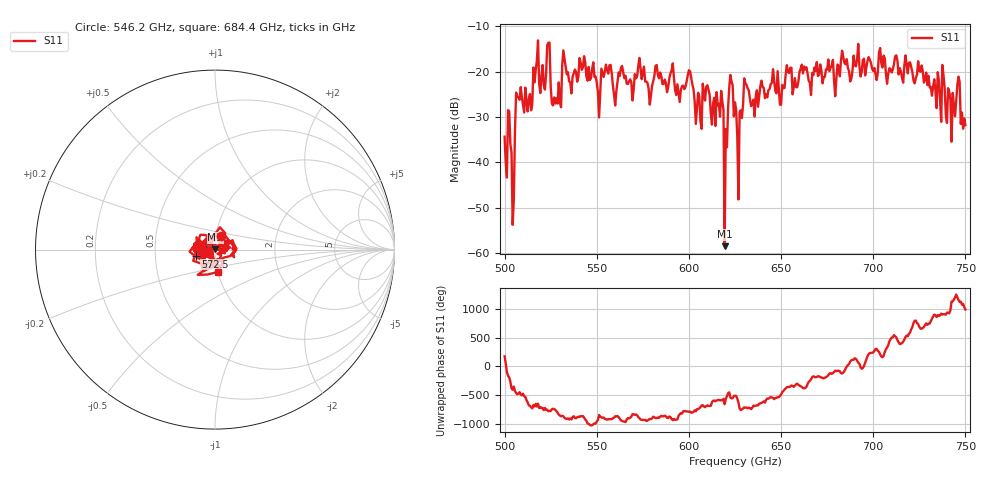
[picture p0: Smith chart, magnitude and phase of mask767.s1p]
!Created with skrf (http://scikit-rf.org).
# GHz S MA R 50.0
!freq magS11 angS11
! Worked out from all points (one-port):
!   401 points, 500 GHz to 750 GHz, reference 50 ohm
!   lowest |S11| = -58.5 dB at 619.4 GHz (marker M1), VSWR 1.00, Z = 50.1 + j0.107 ohm
!   |S11| at or under -10 dB: start of sweep to end of sweep
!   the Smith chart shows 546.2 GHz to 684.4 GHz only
!   S11 on the Smith chart (normalised r, x): 546.2 GHz: 1.06, +0.16; 572.5 GHz: 0.80, -0.06; 684.4 GHz: 1.00, -0.25
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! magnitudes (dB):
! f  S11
! 500 GHz  -34.3
! 502.5 GHz  -28.7
! 504.4 GHz  -53.8
! 507.5 GHz  -25.6
! 513.8 GHz  -24.9
! 516.9 GHz  -19.7
! 520.6 GHz  -18.5
! 523.8 GHz  -13.6
! 526.9 GHz  -25.7
! 531.2 GHz  -18.5
! 546.2 GHz  -21.8
! 562.5 GHz  -20.9
! 572.5 GHz  -18.8
! 593.8 GHz  -22.8
! 616.2 GHz  -27.1
! 619.4 GHz  -58.5
! 622.5 GHz  -20.7
! 625 GHz  -26.8
! 627.5 GHz  -28.9
! 631.2 GHz  -22.9
! 634.4 GHz  -27.0
! 656.2 GHz  -25.0
! 684.4 GHz  -18.0
! 687.5 GHz  -22.2
! 718.8 GHz  -20.3
! 743.1 GHz  -24.7
! 745.6 GHz  -22.9
! 750 GHz  -31.8
